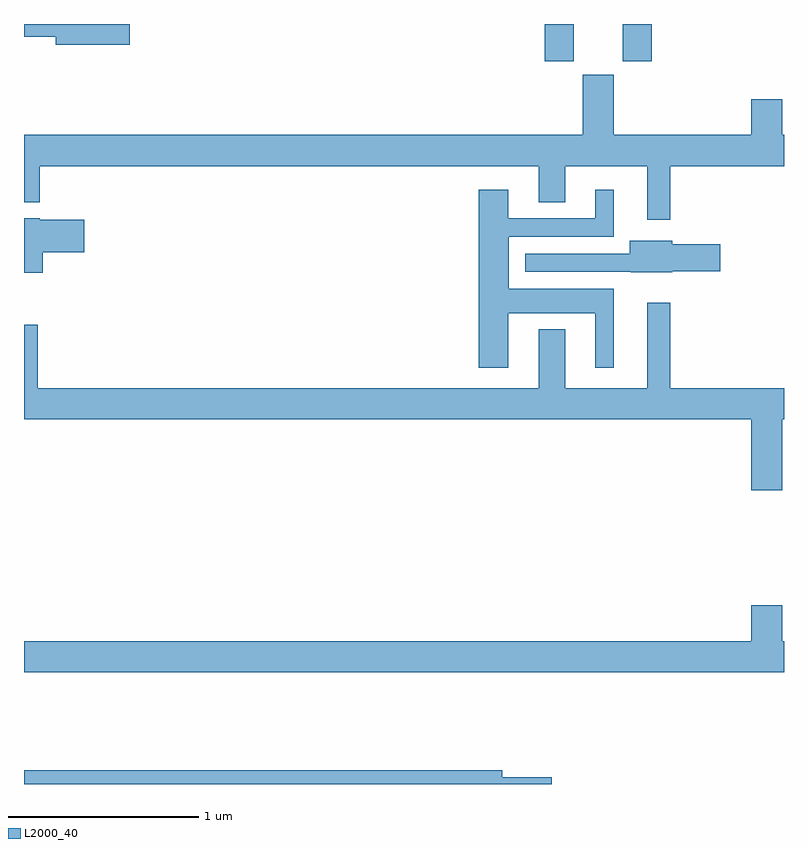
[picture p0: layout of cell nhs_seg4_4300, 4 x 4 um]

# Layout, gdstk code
import gdstk
lib = gdstk.Library(unit=1e-6, precision=1e-09)
def R(c, l, rs):  # rectangles x0, y0, x1, y1
    for r in rs: c.add(gdstk.rectangle(r[:2], r[2:], *l))
def P(c, l, *ps):  # polygons
    for p in ps: c.add(gdstk.Polygon(p, *l))
L2000_40 = (2000, 40)

nhs_seg4_4300 = lib.new_cell('nhs_seg4_4300')
R(nhs_seg4_4300, L2000_40, [(343.742,798.705,343.894,798.9), (344.15,798.705,344.303,798.9)])
P(nhs_seg4_4300, L2000_40, [(341.557,798.9),(341,798.9),(341,798.832),(341.168,798.832),(341.168,798.79),(341.557,798.79)],
  [(344.401,798.152),(345,798.152),(345,798.316),(344.992,798.316),(344.992,798.505),(344.828,798.505),(344.828,798.316),(344.104,798.316),(344.104,798.633),(343.94,798.633),(343.94,798.316),(341,798.316),(341,797.963),(341.084,797.963),(341.084,798.152),(343.709,798.152),(343.709,797.962),(343.849,797.962),(343.849,798.152),(344.279,798.152),(344.279,797.871),(344.401,797.871)],
  [(343.549,797.378),(344.006,797.378),(344.006,797.091),(344.104,797.091),(344.104,797.506),(343.552,797.506),(343.552,797.781),(344.104,797.781),(344.104,798.028),(344.006,798.028),(344.006,797.877),(343.549,797.877),(343.549,798.028),(343.394,798.028),(343.394,797.091),(343.549,797.091)],
  [(341.099,797.699),(341.317,797.699),(341.317,797.869),(341.082,797.869),(341.082,797.878),(341,797.878),(341,797.592),(341.099,797.592)],
  [(344.412,797.6),(344.665,797.6),(344.665,797.742),(344.412,797.742),(344.412,797.758),(344.189,797.758),(344.189,797.691),(343.637,797.691),(343.637,797.595),(344.193,797.595),(344.193,797.594),(344.412,797.594)],
  [(344.992,796.82),(345,796.82),(345,796.984),(344.401,796.984),(344.401,797.434),(344.279,797.434),(344.279,796.984),(343.849,796.984),(343.849,797.293),(343.709,797.293),(343.709,796.984),(341.072,796.984),(341.072,797.317),(341,797.317),(341,796.82),(344.828,796.82),(344.828,796.446),(344.992,796.446)],
  [(345,795.652),(344.992,795.652),(344.992,795.841),(344.828,795.841),(344.828,795.652),(341,795.652),(341,795.488),(345,795.488)],
  [(343.777,794.936),(343.516,794.936),(343.516,794.972),(341,794.972),(341,794.9),(343.777,794.9)])

lib.write_gds('nhs_seg4_4300.gds')
